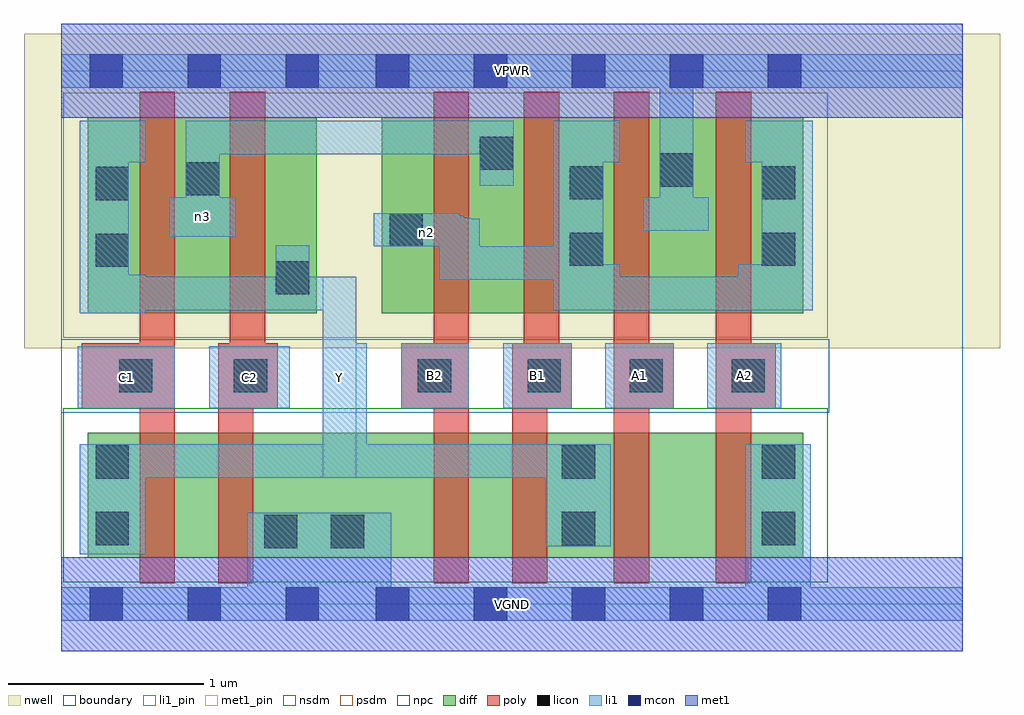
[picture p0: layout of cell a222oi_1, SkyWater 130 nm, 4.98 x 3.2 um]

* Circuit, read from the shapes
.subckt a222oi_1 A1 A2 B1 B2 C1 C2 VGND VPWR Y n2 n3
XM1 n1 C1 Y VSUBS sky130_fd_pr__nfet_01v8 w=0.64 l=0.18
XM2 VGND C2 n1 VSUBS sky130_fd_pr__nfet_01v8 w=0.64 l=0.18
XM3 n4 B2 VGND VSUBS sky130_fd_pr__nfet_01v8 w=0.64 l=0.18
XM4 Y B1 n4 VSUBS sky130_fd_pr__nfet_01v8 w=0.64 l=0.18
XM5 n5 A1 Y VSUBS sky130_fd_pr__nfet_01v8 w=0.64 l=0.18
XM6 VGND A2 n5 VSUBS sky130_fd_pr__nfet_01v8 w=0.64 l=0.18
XM7 n3 C1 Y n6 sky130_fd_pr__pfet_01v8 w=1 l=0.18
XM8 Y C2 n3 n6 sky130_fd_pr__pfet_01v8 w=1 l=0.18
XM9 n3 B2 n2 n6 sky130_fd_pr__pfet_01v8 w=1 l=0.18
XM10 n2 B1 n3 n6 sky130_fd_pr__pfet_01v8 w=1 l=0.18
XM11 VPWR A1 n2 n6 sky130_fd_pr__pfet_01v8 w=1 l=0.18
XM12 n2 A2 VPWR n6 sky130_fd_pr__pfet_01v8 w=1 l=0.18
.ends

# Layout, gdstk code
import gdstk
lib = gdstk.Library(unit=1e-6, precision=1e-09)
def R(c, l, rs):  # rectangles x0, y0, x1, y1
    for r in rs: c.add(gdstk.rectangle(r[:2], r[2:], *l))
def A(c, l, x, y, w, h, nx, ny, dx, dy):  # array of equal rectangles
    R(c, l, [(x+i*dx, y+j*dy, x+i*dx+w, y+j*dy+h) for i in range(nx) for j in range(ny)])
nwell = (64, 20)
diff = (65, 20)
poly = (66, 20)
licon = (66, 44)
li1_pin = (67, 16)
li1 = (67, 20)
mcon = (67, 44)
met1_pin = (68, 16)
met1 = (68, 20)
nsdm = (93, 44)
psdm = (94, 20)
npc = (95, 20)
boundary = (235, 4)

a222oi_1 = lib.new_cell('a222oi_1')
R(a222oi_1, nwell, [(-0.19,1.305,4.79,2.91), (0,1.305,4.6,2.91)])
R(a222oi_1, diff, [(0.135,0.235,3.785,0.875), (0.135,1.485,1.305,2.485), (1.635,1.485,3.785,2.485)])
A(a222oi_1, poly, 2.3, 1, 0.305, 0.33, 3, 1, 0.52, 0)
R(a222oi_1, poly, [(0.4,0.105,0.58,2.615), (0.8,0.105,0.98,1.33), (1.9,0.105,2.08,2.615), (2.3,0.105,2.48,1.33), (2.82,0.105,3,2.615), (3.34,0.105,3.52,2.615), (0.105,1,0.58,1.33), (0.8,1,1.105,1.33), (0.86,1,1.04,2.615), (1.735,1,2.08,1.33), (2.36,1,2.54,2.615)])
A(a222oi_1, licon, 2.38, 1.08, 0.17, 0.17, 3, 1, 0.52, 0)
R(a222oi_1, licon, [(1.035,0.285,1.205,0.455), (1.375,0.285,1.545,0.455), (0.175,0.3,0.345,0.47), (2.555,0.3,2.725,0.47), (3.575,0.3,3.745,0.47), (0.175,0.64,0.345,0.81), (2.555,0.64,2.725,0.81), (3.575,0.64,3.745,0.81), (0.295,1.08,0.465,1.25), (0.88,1.08,1.05,1.25), (1.82,1.08,1.99,1.25), (1.095,1.58,1.265,1.75), (0.175,1.72,0.345,1.89), (2.595,1.725,2.765,1.895), (3.575,1.725,3.745,1.895), (1.675,1.825,1.845,1.995), (0.175,2.06,0.345,2.23), (2.595,2.065,2.765,2.235), (3.575,2.065,3.745,2.235), (0.635,2.085,0.805,2.255), (3.055,2.13,3.225,2.3), (2.135,2.215,2.305,2.385)])
R(a222oi_1, li1_pin, [(1.335,0.645,1.505,1.67), (0.085,1,0.58,1.315), (0.755,1,1.165,1.315), (1.735,1,2.08,1.33), (2.255,1,2.605,1.33), (2.775,1,3.125,1.33), (3.295,1,3.675,1.33)])
R(a222oi_1, li1, [(0,-0.085,4.6,0.085), (0.95,-0.085,1.685,0.465), (3.49,-0.085,3.825,0.815), (0.095,0.255,0.43,0.815), (2.47,0.295,2.805,0.815), (0.095,0.645,2.805,0.815), (1.335,0.645,1.505,1.67), (1.335,0.815,1.56,1.33), (0.085,1,0.58,1.315), (0.755,1,1.165,1.315), (1.735,1,2.08,1.33), (2.255,1,2.605,1.33), (2.775,1,3.125,1.33), (3.295,1,3.675,1.33), (0.095,1.485,0.345,2.465), (0.095,1.485,0.43,1.68), (0.095,1.5,1.505,1.67), (1.095,1.5,1.265,1.83), (2.51,1.5,2.765,2.465), (2.51,1.5,3.835,1.67), (2.51,1.5,2.85,1.735), (3.455,1.5,3.835,1.735), (3.575,1.5,3.835,2.465), (1.93,1.655,2.765,1.825), (1.595,1.825,2.135,1.965), (1.595,1.825,2.03,1.995), (1.595,1.825,2.05,1.98), (1.595,1.825,2.09,1.97), (0.55,1.875,0.89,2.075), (0.635,1.875,0.81,2.465), (2.97,1.905,3.305,2.075), (3.055,1.905,3.225,2.805), (2.135,2.135,2.31,2.465), (0.095,2.255,0.43,2.465), (2.51,2.255,2.85,2.465), (3.49,2.255,3.835,2.465), (0.635,2.295,2.31,2.465), (0,2.635,4.6,2.805)])
A(a222oi_1, mcon, 0.145, -0.085, 0.17, 0.17, 3, 2, 0.5, 2.72)
A(a222oi_1, mcon, 1.605, -0.085, 0.17, 0.17, 5, 2, 0.5, 2.72)
R(a222oi_1, met1_pin, [(0,-0.24,4.6,0.24), (0,2.48,4.6,2.96)])
R(a222oi_1, met1, [(0,-0.24,4.6,0.24), (0,2.48,4.6,2.96)])
R(a222oi_1, nsdm, [(0.01,0.11,3.91,1)])
R(a222oi_1, psdm, [(0.01,1.36,3.91,2.61)])
R(a222oi_1, npc, [(0,0.975,3.92,1.35)])
R(a222oi_1, boundary, [(0,0,4.6,2.72)])
a222oi_1.add(gdstk.Label('A1', (2.95,1.165), layer=67, texttype=5))
a222oi_1.add(gdstk.Label('A2', (3.485,1.165), layer=67, texttype=5))
a222oi_1.add(gdstk.Label('B1', (2.43,1.165), layer=67, texttype=5))
a222oi_1.add(gdstk.Label('B2', (1.907,1.165), layer=67, texttype=5))
a222oi_1.add(gdstk.Label('C1', (0.332,1.157), layer=67, texttype=5))
a222oi_1.add(gdstk.Label('C2', (0.96,1.157), layer=67, texttype=5))
a222oi_1.add(gdstk.Label('Y', (1.42,1.157), layer=67, texttype=5))
a222oi_1.add(gdstk.Label('n3', (0.72,1.975), layer=67, texttype=5))
a222oi_1.add(gdstk.Label('n2', (1.865,1.895), layer=67, texttype=5))
a222oi_1.add(gdstk.Label('VPWR', (2.3,2.72), layer=68, texttype=5))
a222oi_1.add(gdstk.Label('VGND', (2.3,0), layer=68, texttype=5))
a222oi_1.add(gdstk.Label('A1', (2.95,1.165), layer=67, texttype=16))
a222oi_1.add(gdstk.Label('A2', (3.485,1.165), layer=67, texttype=16))
a222oi_1.add(gdstk.Label('B1', (2.43,1.165), layer=67, texttype=16))
a222oi_1.add(gdstk.Label('B2', (1.907,1.165), layer=67, texttype=16))
a222oi_1.add(gdstk.Label('C1', (0.332,1.157), layer=67, texttype=16))
a222oi_1.add(gdstk.Label('C2', (0.96,1.157), layer=67, texttype=16))
a222oi_1.add(gdstk.Label('Y', (1.42,1.157), layer=67, texttype=16))
a222oi_1.add(gdstk.Label('VPWR', (2.3,2.72), layer=68, texttype=16))
a222oi_1.add(gdstk.Label('VGND', (2.3,0), layer=68, texttype=16))

lib.write_gds('a222oi_1.gds')
